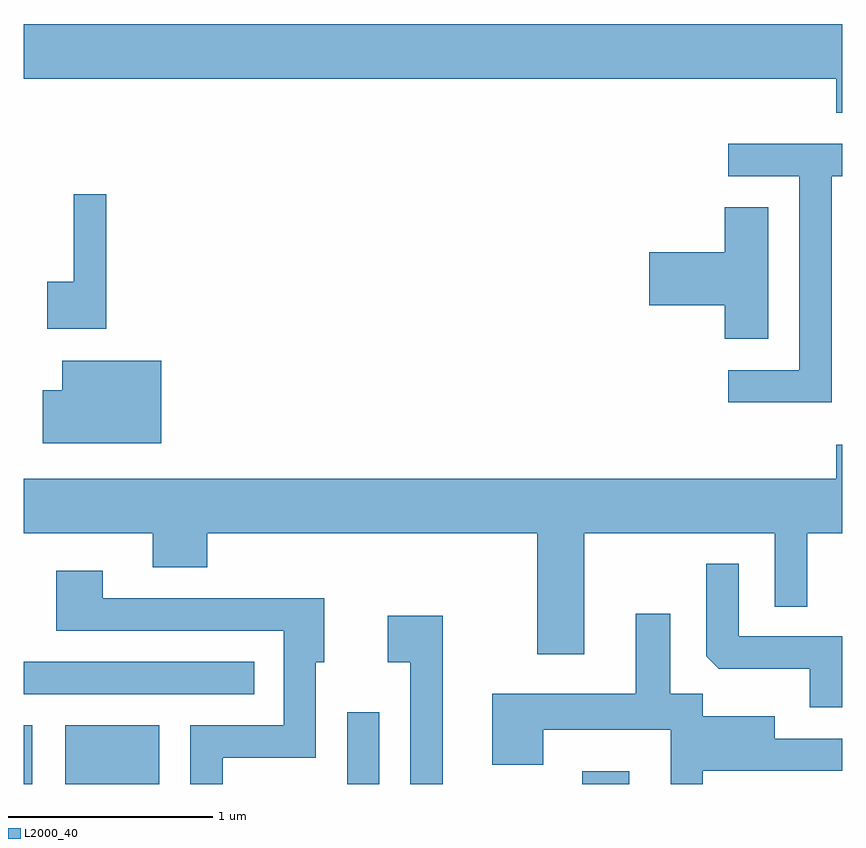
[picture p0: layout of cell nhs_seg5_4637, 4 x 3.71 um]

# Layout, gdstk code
import gdstk
lib = gdstk.Library(unit=1e-6, precision=1e-09)
def R(c, l, rs):  # rectangles x0, y0, x1, y1
    for r in rs: c.add(gdstk.rectangle(r[:2], r[2:], *l))
def P(c, l, *ps):  # polygons
    for p in ps: c.add(gdstk.Polygon(p, *l))
L2000_40 = (2000, 40)

nhs_seg5_4637 = lib.new_cell('nhs_seg5_4637')
R(nhs_seg5_4637, L2000_40, [(323.611,1400.072,323.654,1400.359), (323.816,1400.072,324.274,1400.359), (325.191,1400.072,325.349,1400.423), (326.341,1400.072,326.569,1400.134), (323.611,1400.511,324.738,1400.669)])
P(nhs_seg5_4637, L2000_40, [(327.611,1403.784),(323.611,1403.784),(323.611,1403.516),(327.581,1403.516),(327.581,1403.351),(327.611,1403.351)],
  [(327.559,1403.041),(327.611,1403.041),(327.611,1403.199),(327.053,1403.199),(327.053,1403.041),(327.401,1403.041),(327.401,1402.094),(327.053,1402.094),(327.053,1401.936),(327.559,1401.936)],
  [(324.014,1402.953),(323.856,1402.953),(323.856,1402.524),(323.726,1402.524),(323.726,1402.296),(324.014,1402.296)],
  [(327.249,1402.889),(327.036,1402.889),(327.036,1402.669),(326.666,1402.669),(326.666,1402.411),(327.036,1402.411),(327.036,1402.246),(327.249,1402.246)],
  [(324.284,1402.139),(323.801,1402.139),(323.801,1401.994),(323.706,1401.994),(323.706,1401.736),(324.284,1401.736)],
  [(326.349,1401.296),(327.281,1401.296),(327.281,1400.938),(327.439,1400.938),(327.439,1401.296),(327.611,1401.296),(327.611,1401.729),(327.581,1401.729),(327.581,1401.564),(323.611,1401.564),(323.611,1401.296),(324.241,1401.296),(324.241,1401.131),(324.509,1401.131),(324.509,1401.296),(326.121,1401.296),(326.121,1400.706),(326.349,1400.706)],
  [(327.611,1400.604),(327.609,1400.604),(327.609,1400.794),(327.104,1400.794),(327.104,1401.148),(326.946,1401.148),(326.946,1400.697),(327.007,1400.636),(327.451,1400.636),(327.451,1400.446),(327.611,1400.446)],
  [(324.584,1400.201),(325.039,1400.201),(325.039,1400.666),(325.079,1400.666),(325.079,1400.979),(323.999,1400.979),(323.999,1401.114),(323.771,1401.114),(323.771,1400.821),(324.881,1400.821),(324.881,1400.359),(324.426,1400.359),(324.426,1400.072),(324.584,1400.072)],
  [(326.929,1400.136),(327.611,1400.136),(327.611,1400.294),(327.279,1400.294),(327.279,1400.404),(326.929,1400.404),(326.929,1400.514),(326.769,1400.514),(326.769,1400.903),(326.601,1400.903),(326.601,1400.514),(325.901,1400.514),(325.901,1400.166),(326.149,1400.166),(326.149,1400.336),(326.771,1400.336),(326.771,1400.072),(326.929,1400.072)],
  [(325.659,1400.894),(325.391,1400.894),(325.391,1400.666),(325.501,1400.666),(325.501,1400.072),(325.659,1400.072)])

lib.write_gds('nhs_seg5_4637.gds')
